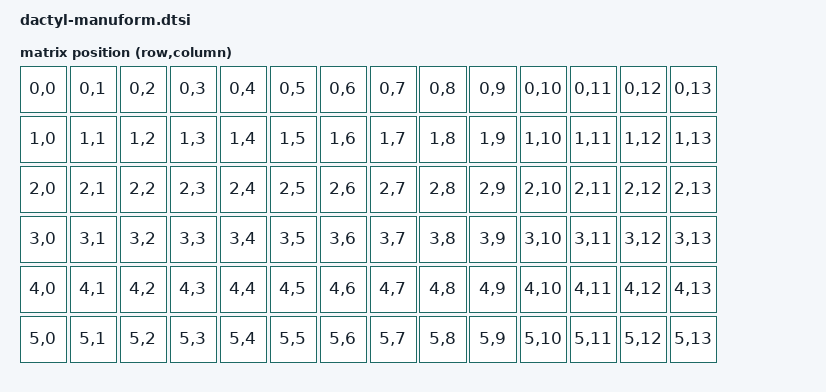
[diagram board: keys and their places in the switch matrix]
/*
 * Copyright (c) 2024 The ZMK Contributors
 * SPDX-License-Identifier: MIT
 *
 * Dactyl Manuform 6x7 wireless shield.
 * 6 rows x 7 columns per half. Diodes COL2ROW (anode on col, cathode on row).
 *
 * Adjust the row/col GPIO pins below to match your hand-wiring.
 */

#include <dt-bindings/zmk/matrix_transform.h>

/ {
    chosen {
        zmk,kscan = &kscan0;
        zmk,matrix-transform = &default_transform;
    };

    default_transform: keymap_transform_0 {
        compatible = "zmk,matrix-transform";
        columns = <14>;
        rows = <6>;
        // | LT5 | LT4 | LT3 | LT2 | LT1 | LT0 | LT6 |   | RT6 | RT0 | RT1 | RT2 | RT3 | RT4 | RT5 |
        //   row 0..5 left  -> cols 0..6
        //   row 0..5 right -> cols 7..13
        map = <
RC(0,0) RC(0,1) RC(0,2) RC(0,3) RC(0,4) RC(0,5) RC(0,6)   RC(0,7) RC(0,8) RC(0,9) RC(0,10) RC(0,11) RC(0,12) RC(0,13)
RC(1,0) RC(1,1) RC(1,2) RC(1,3) RC(1,4) RC(1,5) RC(1,6)   RC(1,7) RC(1,8) RC(1,9) RC(1,10) RC(1,11) RC(1,12) RC(1,13)
RC(2,0) RC(2,1) RC(2,2) RC(2,3) RC(2,4) RC(2,5) RC(2,6)   RC(2,7) RC(2,8) RC(2,9) RC(2,10) RC(2,11) RC(2,12) RC(2,13)
RC(3,0) RC(3,1) RC(3,2) RC(3,3) RC(3,4) RC(3,5) RC(3,6)   RC(3,7) RC(3,8) RC(3,9) RC(3,10) RC(3,11) RC(3,12) RC(3,13)
RC(4,0) RC(4,1) RC(4,2) RC(4,3) RC(4,4) RC(4,5) RC(4,6)   RC(4,7) RC(4,8) RC(4,9) RC(4,10) RC(4,11) RC(4,12) RC(4,13)
RC(5,0) RC(5,1) RC(5,2) RC(5,3) RC(5,4) RC(5,5) RC(5,6)   RC(5,7) RC(5,8) RC(5,9) RC(5,10) RC(5,11) RC(5,12) RC(5,13)
        >;
    };

    kscan0: kscan {
        compatible = "zmk,kscan-gpio-matrix";
        label = "KSCAN";
        diode-direction = "col2row";
        wakeup-source;

        debounce-press-ms = <5>;
        debounce-release-ms = <5>;
    };
};
